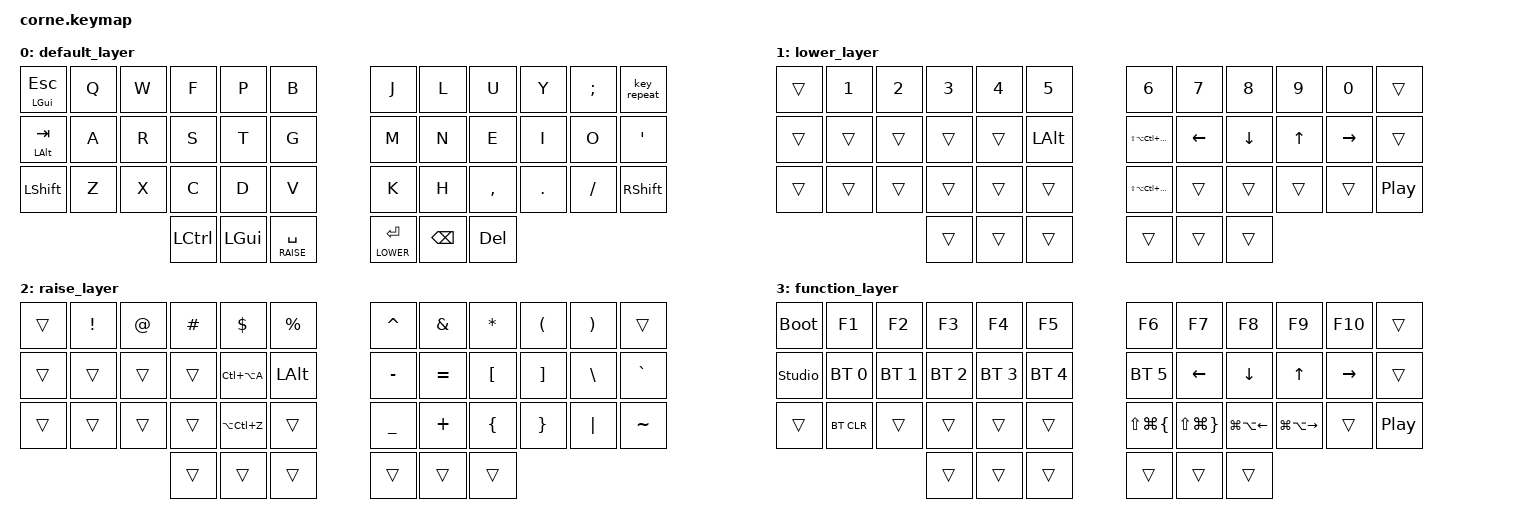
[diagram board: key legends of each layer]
/*
 * Copyright (c) 2020 The ZMK Contributors
 *
 * SPDX-License-Identifier: MIT
 */

#include <behaviors.dtsi>
#include <dt-bindings/zmk/bt.h>
#include <dt-bindings/zmk/keys.h>

#define DEFAULT 0
#define LOWER   1
#define RAISE   2
#define FUNC    3

/ {
    behaviors {
        ht: hold_tap {
            compatible = "zmk,behavior-hold-tap";
            #binding-cells = <2>;
            flavor = "tap-preferred";
            tapping-term-ms = <150>;
            quick-tap-ms = <125>;
            bindings = <&kp>, <&kp>;
        };

        htb: hold_tap_balanced {
            compatible = "zmk,behavior-hold-tap";
            #binding-cells = <2>;
            flavor = "balanced";
            tapping-term-ms = <170>;
            quick-tap-ms = <125>;
            bindings = <&kp>, <&kp>;
        };

        bsht: back_space_hold_tap {
            compatible = "zmk,behavior-hold-tap";
            #binding-cells = <2>;
            flavor = "tap-preferred";
            tapping-term-ms = <150>;
            quick-tap-ms = <100>;
            bindings = <&kp>, <&kp>;
        };

        lt_hp: layer-tap-hold-preferred {
            compatible = "zmk,behavior-hold-tap";
            #binding-cells = <2>;
            tapping-term-ms = <150>;
            quick-tap-ms = <0>;
            flavor = "hold-preferred";
            bindings = <&mo>, <&kp>;
        };

        copy_paste: copy_paste {
            compatible = "zmk,behavior-tap-dance";
            label = "COPY_PASTE";
            #binding-cells = <0>;
            bindings = <&kp LG(C)>, <&kp LG(V)>;

            tapping-term-ms = <300>;
        };
    };

    conditional_layers {
        compatible = "zmk,conditional-layers";

        tri_layer {
            if-layers = <1 2>;
            then-layer = <3>;
        };
    };

    combos {
        compatible = "zmk,combos";

        combo_cmd_right {
            bindings = <&kp LGUI>;
            key-positions = <7 19>;
            timeout-ms = <60>;
        };

        combo_ctrl_right {
            bindings = <&kp LCTRL>;
            key-positions = <8 20>;
            timeout-ms = <60>;
        };

        combo_shift_right {
            bindings = <&kp LSHFT>;
            key-positions = <9 21>;
            timeout-ms = <60>;
        };

        combo_cmd_left {
            bindings = <&kp LGUI>;
            key-positions = <4 16>;
            timeout-ms = <60>;
            layers = <0 1 2>;
        };

        combo_ctrl_left {
            bindings = <&kp LCTRL>;
            key-positions = <15 3>;
            timeout-ms = <60>;
        };

        combo_shift_left {
            bindings = <&kp LSHFT>;
            key-positions = <2 14>;
            timeout-ms = <60>;
        };

        combo_alt_left {
            bindings = <&kp LALT>;
            key-positions = <13 1>;
        };

        combo_opt_right {
            bindings = <&kp LALT>;
            key-positions = <10 22>;
        };

        hyper_left {
            bindings = <&kp LS(LA(LC(LGUI)))>;
            key-positions = <4 3>;
        };

        hyper_right {
            bindings = <&kp LS(LA(LC(LGUI)))>;
            key-positions = <7 8>;
        };

        meh_left {
            bindings = <&kp LS(LC(LALT))>;
            key-positions = <38 37>;
        };

        meh_right {
            bindings = <&kp LS(LA(LCTRL))>;
            key-positions = <39 40>;
        };

        combo_alt_ctrl_left {
            bindings = <&kp LC(LALT)>;
            key-positions = <16 17>;
            timeout-ms = <60>;
            layers = <0 1 2>;
        };

        combo_alt_ctrl_shft_left {
            bindings = <&kp LC(LS(LALT))>;
            key-positions = <16 28>;
            timeout-ms = <60>;
            layers = <0 1 2>;
        };

        tmux_leader_left {
            bindings = <&kp LC(SPACE)>;
            key-positions = <16 15>;
        };

        tmux_leader_right {
            bindings = <&kp LC(SPACE)>;
            key-positions = <19 20>;
        };
    };

    keymap {
        compatible = "zmk,keymap";

        // on macos alt == option

        default_layer {
            // -----------------------------------------------------------------------------------------
            // |  TAB |  Q  |  W  |  F  |  P  |  B  |   |  J  |  L   |  U  |  Y  |  ;  | BKSP |
            // | CTRL |  A  |  R  |  S  |  T  |  G  |   |  M  |  N   |  E  |  I  |  O  |  '   |
            // | SHFT |  Z  |  X  |  C  |  D  |  V  |   |  K  |  H   |  ,  |  .  |  /  | ESC  |
            //                    | LCTRL | LWR | SPC |   | ENT | RSE  | ALT |

            bindings = <
&ht LGUI ESC  &kp Q  &kp W  &kp F      &kp P     &kp B                 &kp J             &kp L     &kp U      &kp Y    &kp SEMI  &key_repeat
&ht LALT TAB  &kp A  &kp R  &kp S      &kp T     &kp G                 &kp M             &kp N     &kp E      &kp I    &kp O     &kp SQT
&kp LSHFT     &kp Z  &kp X  &kp C      &kp D     &kp V                 &kp K             &kp H     &kp COMMA  &kp DOT  &kp FSLH  &kp RSHIFT
                            &kp LCTRL  &kp LGUI  &lt_hp RAISE SPACE    &lt_hp LOWER RET  &kp BSPC  &kp DEL
            >;
        };

        lower_layer {
            // -----------------------------------------------------------------------------------------
            // |  TAB |  1  |  2  |  3  |  4  |  5  |   |  6  |  7  |  8  |  9  |  0  | BKSP |
            // | BTCLR| BT1 | BT2 | BT3 | BT4 | BT5 |   | LFT | DWN |  UP | RGT |     |      |
            // | SHFT |     |     |     |     |     |   |     |     |     |     |     |      |
            //                    | GUI |     | SPC |   | ENT |     | ALT |

            bindings = <
&trans  &kp N1  &kp N2  &kp N3  &kp N4  &kp N5      &kp N6                     &kp N7    &kp N8    &kp N9  &kp N0     &trans
&trans  &trans  &trans  &trans  &trans  &kp LALT    &kp LS(LA(LC(LG(RIGHT))))  &kp LEFT  &kp DOWN  &kp UP  &kp RIGHT  &trans
&trans  &trans  &trans  &trans  &trans  &trans      &kp LS(LA(LC(LG(LEFT))))   &trans    &trans    &trans  &trans     &kp C_PP
                        &trans  &trans  &trans      &trans                     &trans    &trans
            >;
        };

        raise_layer {
            // -----------------------------------------------------------------------------------------
            // |  TAB |  !  |  @  |  #  |  $  |  %  |   |  ^  |  &  |  *  |  (  |  )  | BKSP |
            // | CTRL |     |     |     |     |     |   |  -  |  =  |  [  |  ]  |  \  |  `   |
            // | SHFT |     |     |     |     |     |   |  _  |  +  |  {  |  }  | "|" |  ~   |
            //                    | GUI |     | SPC |   | ENT |     | ALT |

            bindings = <
&trans  &kp EXCL  &kp AT  &kp HASH  &kp DLLR       &kp PRCNT    &kp CARET  &kp AMPS   &kp ASTRK  &kp LPAR  &kp RPAR  &trans
&trans  &trans    &trans  &trans    &kp LC(LA(A))  &kp LALT     &kp MINUS  &kp EQUAL  &kp LBKT   &kp RBKT  &kp BSLH  &kp GRAVE
&trans  &trans    &trans  &trans    &kp LA(LC(Z))  &trans       &kp UNDER  &kp PLUS   &kp LBRC   &kp RBRC  &kp PIPE  &kp TILDE
                          &trans    &trans         &trans       &trans     &trans     &trans
            >;
        };

        function_layer {
            // -----------------------------------------------------------------------------------------
            // |  TAB |  F1  |  F2  |  F#  |  F4  |  F5  |   |  F6  |  F7  |  F8  |  F9  |  F10  | BKSP |
            // | CTRL |     |     |     |     |     |   |  -  |  =  |  [  |  ]  |  \  |  `   |
            // | SHFT |     |     |     |     |     |   |  _  |  +  |  {  |  }  | "|" |  ~   |
            //                    | GUI |     | SPC |   | ENT |     | ALT |

            bindings = <
&bootloader     &kp F1        &kp F2        &kp F3        &kp F4        &kp F5          &kp F6            &kp F7            &kp F8                  &kp F9                   &kp F10    &trans
&studio_unlock  &bt BT_SEL 0  &bt BT_SEL 1  &bt BT_SEL 2  &bt BT_SEL 3  &bt BT_SEL 4    &bt BT_SEL 5      &kp LEFT_ARROW    &kp DOWN                &kp UP                   &kp RIGHT  &trans
&trans          &bt BT_CLR    &trans        &trans        &trans        &trans          &kp LS(LG(LBRC))  &kp LS(LG(RBRC))  &kp LG(LA(LEFT_ARROW))  &kp LG(LA(RIGHT_ARROW))  &trans     &kp C_PP
                                            &trans        &trans        &trans          &trans            &trans            &trans
            >;
        };

        extra_layer_0 { status = "reserved"; };
    };
};
